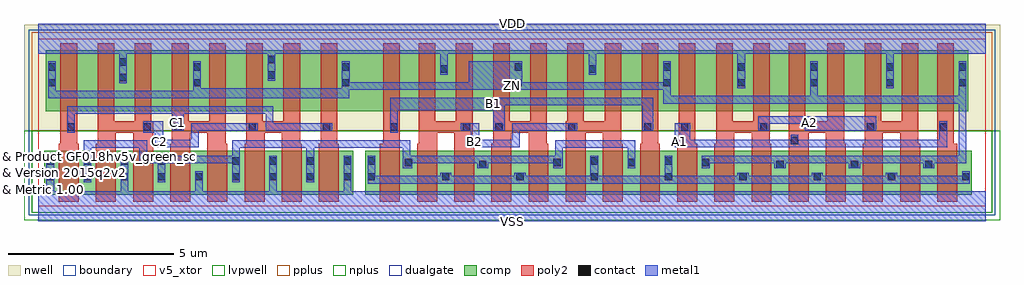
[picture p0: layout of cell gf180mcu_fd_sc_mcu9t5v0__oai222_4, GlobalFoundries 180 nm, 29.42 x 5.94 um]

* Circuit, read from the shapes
.subckt gf180mcu_fd_sc_mcu9t5v0__oai222_4 A1 A2 B1 B2 C1 C2 VDD VSS ZN
XM1 n1 C1 VSS VSUBS nfet_05v0 w=1.32u l=0.6u m=4
XM2 VSS C2 n1 VSUBS nfet_05v0 w=1.32u l=0.6u m=4
XM3 n1 B1 n2 VSUBS nfet_05v0 w=1.32u l=0.6u m=4
XM4 n2 B2 n1 VSUBS nfet_05v0 w=1.32u l=0.6u m=4
XM5 ZN A1 n2 VSUBS nfet_05v0 w=1.32u l=0.6u m=4
XM6 n2 A2 ZN VSUBS nfet_05v0 w=1.32u l=0.6u m=4
XM7 n3 C1 ZN n4 pfet_05v0 w=1.83u l=0.5u
XM8 VDD C2 n3 n4 pfet_05v0 w=1.83u l=0.5u
XM9 n5 C2 VDD n4 pfet_05v0 w=1.83u l=0.5u
XM10 ZN C1 n5 n4 pfet_05v0 w=1.83u l=0.5u
XM11 n6 C1 ZN n4 pfet_05v0 w=1.83u l=0.5u
XM12 VDD C2 n6 n4 pfet_05v0 w=1.83u l=0.5u
XM13 n7 C2 VDD n4 pfet_05v0 w=1.83u l=0.5u
XM14 ZN C1 n7 n4 pfet_05v0 w=1.83u l=0.5u
XM15 n8 B1 ZN n4 pfet_05v0 w=1.83u l=0.5u
XM16 VDD B2 n8 n4 pfet_05v0 w=1.83u l=0.5u
XM17 n9 B2 VDD n4 pfet_05v0 w=1.83u l=0.5u
XM18 ZN B1 n9 n4 pfet_05v0 w=1.83u l=0.5u
XM19 n10 B1 ZN n4 pfet_05v0 w=1.83u l=0.5u
XM20 VDD B2 n10 n4 pfet_05v0 w=1.83u l=0.5u
XM21 n11 B2 VDD n4 pfet_05v0 w=1.83u l=0.5u
XM22 ZN B1 n11 n4 pfet_05v0 w=1.83u l=0.5u
XM23 n12 A1 ZN n4 pfet_05v0 w=1.83u l=0.5u
XM24 VDD A2 n12 n4 pfet_05v0 w=1.83u l=0.5u
XM25 n13 A2 VDD n4 pfet_05v0 w=1.83u l=0.5u
XM26 ZN A1 n13 n4 pfet_05v0 w=1.83u l=0.5u
XM27 n14 A1 ZN n4 pfet_05v0 w=1.83u l=0.5u
XM28 VDD A2 n14 n4 pfet_05v0 w=1.83u l=0.5u
XM29 n15 A2 VDD n4 pfet_05v0 w=1.83u l=0.5u
XM30 ZN A1 n15 n4 pfet_05v0 w=1.83u l=0.5u
.ends

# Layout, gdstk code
import gdstk
lib = gdstk.Library(unit=1e-6, precision=1e-09)
def R(c, l, rs):  # rectangles x0, y0, x1, y1
    for r in rs: c.add(gdstk.rectangle(r[:2], r[2:], *l))
def A(c, l, x, y, w, h, nx, ny, dx, dy):  # array of equal rectangles
    R(c, l, [(x+i*dx, y+j*dy, x+i*dx+w, y+j*dy+h) for i in range(nx) for j in range(ny)])
def P(c, l, *ps):  # polygons
    for p in ps: c.add(gdstk.Polygon(p, *l))
boundary = (0, 0)
nwell = (21, 0)
comp = (22, 0)
poly2 = (30, 0)
pplus = (31, 0)
nplus = (32, 0)
contact = (33, 0)
metal1 = (34, 0)
dualgate = (55, 0)
v5_xtor = (112, 1)
lvpwell = (204, 0)

gf180mcu_fd_sc_mcu9t5v0_ = lib.new_cell('gf180mcu_fd_sc_mcu9t5v0__oai222_4')
R(gf180mcu_fd_sc_mcu9t5v0_, boundary, [(0,0,28.56,5.04)])
R(gf180mcu_fd_sc_mcu9t5v0_, nwell, [(-0.43,2.265,28.99,5.47)])
R(gf180mcu_fd_sc_mcu9t5v0_, comp, [(0.18,0.345,9.5,1.665), (9.86,0.345,28.14,1.665), (0.23,2.865,28.04,4.695)])
P(gf180mcu_fd_sc_mcu9t5v0_, poly2, [(0.62,0.125),(0.62,1.885),(0.67,1.885),(0.67,4.915),(1.17,4.915),(1.17,1.885),(1.22,1.885),(1.22,0.125)],
  [(1.74,0.125),(1.74,1.885),(1.79,1.885),(1.79,4.915),(2.29,4.915),(2.29,2.565),(2.91,2.565),(2.91,4.915),(3.41,4.915),(3.41,2.565),(3.46,2.565),(3.46,0.125),(2.86,0.125),(2.86,2.205),(2.34,2.205),(2.34,0.125)],
  [(3.98,0.125),(3.98,1.885),(4.03,1.885),(4.03,4.915),(4.53,4.915),(4.53,2.565),(5.15,2.565),(5.15,4.915),(5.65,4.915),(5.65,1.885),(5.7,1.885),(5.7,0.125),(5.1,0.125),(5.1,2.205),(4.58,2.205),(4.58,0.125)],
  [(6.22,0.125),(6.22,1.885),(6.27,1.885),(6.27,4.915),(6.77,4.915),(6.77,2.565),(7.39,2.565),(7.39,4.915),(7.89,4.915),(7.89,1.885),(7.94,1.885),(7.94,0.125),(7.34,0.125),(7.34,2.205),(6.82,2.205),(6.82,0.125)],
  [(8.46,0.125),(8.46,1.885),(8.51,1.885),(8.51,4.915),(9.01,4.915),(9.01,1.885),(9.06,1.885),(9.06,0.125)],
  [(10.3,0.125),(10.3,1.885),(10.4,1.885),(10.4,4.915),(10.9,4.915),(10.9,0.125)],
  [(11.42,0.125),(11.42,1.885),(11.47,1.885),(11.47,4.915),(11.97,4.915),(11.97,2.565),(12.59,2.565),(12.59,4.915),(13.09,4.915),(13.09,1.885),(13.14,1.885),(13.14,0.125),(12.54,0.125),(12.54,2.205),(12.02,2.205),(12.02,0.125)],
  [(13.66,0.125),(13.66,1.885),(13.71,1.885),(13.71,4.915),(14.21,4.915),(14.21,2.565),(14.83,2.565),(14.83,4.915),(15.33,4.915),(15.33,1.885),(15.38,1.885),(15.38,0.125),(14.78,0.125),(14.78,2.205),(14.26,2.205),(14.26,0.125)],
  [(15.9,0.125),(15.9,2.565),(15.95,2.565),(15.95,4.915),(16.45,4.915),(16.45,2.565),(17.07,2.565),(17.07,4.915),(17.57,4.915),(17.57,1.885),(17.62,1.885),(17.62,0.125),(17.02,0.125),(17.02,2.205),(16.5,2.205),(16.5,0.125)],
  [(18.14,0.125),(18.14,1.885),(18.19,1.885),(18.19,4.915),(18.69,4.915),(18.69,1.885),(18.74,1.885),(18.74,0.125)],
  [(19.26,0.125),(19.26,1.885),(19.31,1.885),(19.31,4.915),(19.81,4.915),(19.81,1.885),(19.86,1.885),(19.86,0.125)],
  [(20.38,0.125),(20.38,1.885),(20.43,1.885),(20.43,4.915),(20.93,4.915),(20.93,2.565),(21.55,2.565),(21.55,4.915),(22.05,4.915),(22.05,1.885),(22.1,1.885),(22.1,0.125),(21.5,0.125),(21.5,2.205),(20.98,2.205),(20.98,0.125)],
  [(22.62,0.125),(22.62,4.915),(23.12,4.915),(23.12,2.565),(23.79,2.565),(23.79,4.915),(24.29,4.915),(24.29,1.885),(24.34,1.885),(24.34,0.125),(23.74,0.125),(23.74,2.205),(23.22,2.205),(23.22,0.125)],
  [(24.86,0.125),(24.86,1.885),(24.91,1.885),(24.91,4.915),(25.41,4.915),(25.41,2.565),(26.03,2.565),(26.03,4.915),(26.53,4.915),(26.53,1.885),(26.58,1.885),(26.58,0.125),(25.98,0.125),(25.98,2.205),(25.46,2.205),(25.46,0.125)],
  [(27.1,0.125),(27.1,4.915),(27.6,4.915),(27.6,1.885),(27.7,1.885),(27.7,0.125)])
R(gf180mcu_fd_sc_mcu9t5v0_, pplus, [(-0.2,2.265,28.76,5.24)])
R(gf180mcu_fd_sc_mcu9t5v0_, nplus, [(-0.2,-0.2,28.76,2.265)])
A(gf180mcu_fd_sc_mcu9t5v0_, contact, 0.25, 0.775, 0.22, 0.22, 9, 1, 1.12, 0)
A(gf180mcu_fd_sc_mcu9t5v0_, contact, 9.93, 0.775, 0.22, 0.22, 9, 1, 2.24, 0)
A(gf180mcu_fd_sc_mcu9t5v0_, contact, 22.25, 1.145, 0.22, 0.22, 3, 1, 2.24, 0)
A(gf180mcu_fd_sc_mcu9t5v0_, contact, 15.53, 1.2, 0.22, 0.22, 3, 1, 2.24, 0)
A(gf180mcu_fd_sc_mcu9t5v0_, contact, 0.25, 1.245, 0.22, 0.22, 4, 1, 1.12, 0)
A(gf180mcu_fd_sc_mcu9t5v0_, contact, 5.85, 1.245, 0.22, 0.22, 4, 1, 1.12, 0)
A(gf180mcu_fd_sc_mcu9t5v0_, contact, 4.1, 2.275, 0.22, 0.22, 3, 1, 2.24, 0)
R(gf180mcu_fd_sc_mcu9t5v0_, contact, [(13.29,1.145,13.51,1.365), (11.05,1.2,11.27,1.42), (9.93,1.245,10.15,1.465), (16.65,1.245,16.87,1.465), (18.89,1.245,19.11,1.465), (22.69,1.865,22.91,2.085), (0.88,2.275,1.1,2.495), (3.17,2.275,3.39,2.495), (10.61,2.275,10.83,2.495), (12.8,2.275,13.02,2.495), (13.78,2.275,14,2.495), (15.97,2.275,16.19,2.495), (18.26,2.275,18.48,2.495), (19.38,2.275,19.6,2.495), (21.76,2.275,21.98,2.495), (24.98,2.275,25.2,2.495), (27.17,2.275,27.39,2.495), (0.3,3.61,0.52,3.83), (4.68,3.61,4.9,3.83), (9.16,3.61,9.38,3.83), (14.36,3.61,14.58,3.83), (18.84,3.61,19.06,3.83), (21.08,3.61,21.3,3.83), (23.27,3.61,23.49,3.83), (25.56,3.61,25.78,3.83), (27.75,3.61,27.97,3.83), (2.44,3.765,2.66,3.985), (6.92,3.84,7.14,4.06), (12.12,4.02,12.34,4.24), (16.6,4.02,16.82,4.24), (0.3,4.08,0.52,4.3), (4.68,4.08,4.9,4.3), (9.16,4.08,9.38,4.3), (14.36,4.08,14.58,4.3), (18.84,4.08,19.06,4.3), (21.08,4.08,21.3,4.3), (23.27,4.08,23.49,4.3), (25.56,4.08,25.78,4.3), (27.75,4.08,27.97,4.3), (2.44,4.235,2.66,4.455), (6.92,4.31,7.14,4.53)])
P(gf180mcu_fd_sc_mcu9t5v0_, metal1, [(3.51,1.77),(3.51,2.215),(3.165,2.215),(3.165,2.555),(3.77,2.555),(3.77,2),(4.61,2),(4.61,2.5),(6.62,2.5),(6.62,2.27),(4.84,2.27),(4.84,1.77)],
  [(0.875,2.215),(0.875,3.015),(7.08,3.015),(7.08,2.5),(8.86,2.5),(8.86,2.27),(6.85,2.27),(6.85,2.785),(4.38,2.785),(4.38,2.27),(4.04,2.27),(4.04,2.785),(1.105,2.785),(1.105,2.215)],
  [(13.03,1.77),(13.03,2.27),(12.74,2.27),(12.74,2.5),(13.29,2.5),(13.29,2),(14.29,2),(14.29,2.5),(16.25,2.5),(16.25,2.27),(14.52,2.27),(14.52,1.77)],
  [(1.365,0.715),(1.365,1.985),(3.28,1.985),(3.28,1.525),(5.845,1.525),(5.845,1.985),(11.22,1.985),(11.22,1.52),(15.58,1.52),(15.58,1.985),(17.995,1.985),(17.995,1.14),(17.765,1.14),(17.765,1.755),(15.81,1.755),(15.81,1.14),(15.525,1.14),(15.525,1.29),(13.57,1.29),(13.57,1.14),(13.23,1.14),(13.23,1.29),(11.275,1.29),(11.275,1.14),(10.99,1.14),(10.99,1.755),(8.315,1.755),(8.315,0.715),(8.085,0.715),(8.085,1.755),(6.075,1.755),(6.075,0.715),(5.845,0.715),(5.845,1.295),(3.835,1.295),(3.835,0.715),(3.605,0.715),(3.605,1.295),(3.05,1.295),(3.05,1.755),(1.595,1.755),(1.595,0.715)],
  [(10.605,2.215),(10.605,3.27),(18.54,3.27),(18.54,2.27),(18.2,2.27),(18.2,3.04),(14.06,3.04),(14.06,2.27),(13.72,2.27),(13.72,2.89),(10.835,2.89),(10.835,2.215)],
  [(21.7,2.27),(21.7,2.71),(25.26,2.71),(25.26,2.27),(23.11,2.27),(23.11,2.48),(22.04,2.48),(22.04,2.27)],
  [(19.19,1.77),(19.19,2.5),(19.66,2.5),(19.66,2),(22.685,2),(22.685,2.145),(22.915,2.145),(22.915,2),(27.165,2),(27.165,2.555),(27.395,2.555),(27.395,1.77)],
  [(20.005,1.14),(20.005,1.515),(27.745,1.515),(27.745,3.09),(18.835,3.09),(18.835,3.5),(9.38,3.5),(9.38,3.245),(0.295,3.245),(0.295,4.36),(0.525,4.36),(0.525,3.475),(4.675,3.475),(4.675,4.36),(4.905,4.36),(4.905,3.55),(9.155,3.55),(9.155,4.36),(9.385,4.36),(9.385,3.73),(12.97,3.73),(12.97,4.36),(14.585,4.36),(14.585,3.73),(18.835,3.73),(18.835,4.36),(19.065,4.36),(19.065,3.32),(23.265,3.32),(23.265,4.36),(23.495,4.36),(23.495,3.32),(27.745,3.32),(27.745,4.36),(27.975,4.36),(27.975,1.285),(27.01,1.285),(27.01,1.14),(26.67,1.14),(26.67,1.285),(24.77,1.285),(24.77,1.14),(24.43,1.14),(24.43,1.285),(22.53,1.285),(22.53,1.14),(22.19,1.14),(22.19,1.285),(20.235,1.285),(20.235,1.14)],
  [(9.925,0.68),(9.925,1.525),(10.155,1.525),(10.155,0.91),(12.11,0.91),(12.11,1),(12.45,1),(12.45,0.91),(14.35,0.91),(14.35,1),(14.69,1),(14.69,0.91),(16.645,0.91),(16.645,1.525),(16.875,1.525),(16.875,0.91),(18.885,0.91),(18.885,1.525),(19.115,1.525),(19.115,0.91),(21.07,0.91),(21.07,1),(21.41,1),(21.41,0.91),(23.31,0.91),(23.31,1),(23.65,1),(23.65,0.91),(25.55,0.91),(25.55,1),(25.89,1),(25.89,0.91),(27.845,0.91),(27.845,1.055),(28.075,1.055),(28.075,0.68)],
  [(0,-0.45),(0,0.45),(0.245,0.45),(0.245,1.525),(0.475,1.525),(0.475,0.45),(2.485,0.45),(2.485,1.525),(2.715,1.525),(2.715,0.45),(4.725,0.45),(4.725,1.055),(4.955,1.055),(4.955,0.45),(6.965,0.45),(6.965,1.525),(7.195,1.525),(7.195,0.45),(9.205,0.45),(9.205,1.525),(9.435,1.525),(9.435,0.45),(28.56,0.45),(28.56,-0.45)],
  [(21.075,3.55),(21.075,4.59),(16.825,4.59),(16.825,3.96),(16.595,3.96),(16.595,4.59),(12.345,4.59),(12.345,3.96),(12.115,3.96),(12.115,4.59),(7.145,4.59),(7.145,3.78),(6.915,3.78),(6.915,4.59),(2.665,4.59),(2.665,3.705),(2.435,3.705),(2.435,4.59),(0,4.59),(0,5.49),(28.56,5.49),(28.56,4.59),(25.785,4.59),(25.785,3.55),(25.555,3.55),(25.555,4.59),(21.305,4.59),(21.305,3.55)])
R(gf180mcu_fd_sc_mcu9t5v0_, dualgate, [(-0.28,-0.28,28.84,5.32)])
R(gf180mcu_fd_sc_mcu9t5v0_, v5_xtor, [(0,0,28.56,5.04)])
R(gf180mcu_fd_sc_mcu9t5v0_, lvpwell, [(-0.43,-0.43,28.99,2.265)])
gf180mcu_fd_sc_mcu9t5v0_.add(gdstk.Label('A1', (19.32,1.96), layer=34, texttype=10))
gf180mcu_fd_sc_mcu9t5v0_.add(gdstk.Label('A2', (23.24,2.52), layer=34, texttype=10))
gf180mcu_fd_sc_mcu9t5v0_.add(gdstk.Label('B1', (13.72,3.08), layer=34, texttype=10))
gf180mcu_fd_sc_mcu9t5v0_.add(gdstk.Label('B2', (13.16,1.96), layer=34, texttype=10))
gf180mcu_fd_sc_mcu9t5v0_.add(gdstk.Label('C1', (4.2,2.52), layer=34, texttype=10))
gf180mcu_fd_sc_mcu9t5v0_.add(gdstk.Label('C2', (3.64,1.96), layer=34, texttype=10))
gf180mcu_fd_sc_mcu9t5v0_.add(gdstk.Label('VDD', (14.28,5.49), layer=34, texttype=10))
gf180mcu_fd_sc_mcu9t5v0_.add(gdstk.Label('VSS', (14.28,-0.45), layer=34, texttype=10))
gf180mcu_fd_sc_mcu9t5v0_.add(gdstk.Label('ZN', (14.28,3.64), layer=34, texttype=10))
gf180mcu_fd_sc_mcu9t5v0_.add(gdstk.Label('& Vendor GLOBALFOUNDRIES', (0,2), layer=63, texttype=63))
gf180mcu_fd_sc_mcu9t5v0_.add(gdstk.Label('& Product GF018hv5v_green_sc9', (0,1.5), layer=63, texttype=63))
gf180mcu_fd_sc_mcu9t5v0_.add(gdstk.Label('& Version 2015q2v2', (0,1), layer=63, texttype=63))
gf180mcu_fd_sc_mcu9t5v0_.add(gdstk.Label('& Metric 1.00', (0,0.5), layer=63, texttype=63))

lib.write_gds('gf180mcu_fd_sc_mcu9t5v0__oai222_4.gds')
